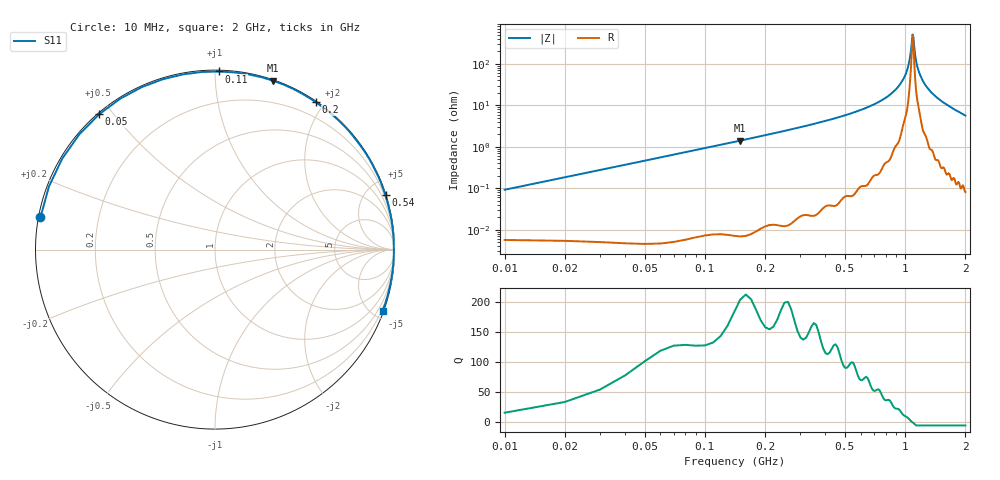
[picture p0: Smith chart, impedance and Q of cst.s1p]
! H_s8_cap_5: PDN loop: BGA pin field to a 0402 capacitor 5 mm away
! stackup: 8-layer 1.6 mm FR-4 (generic)
! ports: 1 IC pins
! CST Studio Suite 2025.5 Release from 2025-05-30, time domain (FIT, hexahedral, PBA), 171058 mesh cells, 142 s
! mesh: {'lpw': 20, 'lpb': 20, 'minstep': 0.0, 'ratio': 20}; ports: port 1 (edge)
! interpolated from CST's 1001 samples to the case grid
# Hz S RI R 1
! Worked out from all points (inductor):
!   200 points, 10 MHz to 2 GHz, reference 1 ohm
!   read as one part to ground: L = 1.46 nH near 20 MHz
!   highest Q = 204 at 150 MHz (marker M1), where L = 1.49 nH
!   self-resonance near 1.09 GHz
!   S11 on the Smith chart (normalised r, x): 10 MHz: 0.01, +0.09; 50 MHz: 0.00, +0.46; 110 MHz: 0.01, +1.02; 200 MHz: 0.01, +1.90; 540 MHz: 0.06, +6.44; 2 GHz: 0.08, -5.67
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1e7  -0.9724 0.1796
2e7  -0.9253 0.351
3e7  -0.8511 0.5071
4e7  -0.7555 0.6425
5e7  -0.6452 0.7542
6e7  -0.527 0.8415
7e7  -0.407 0.9057
8e7  -0.2897 0.9494
9e7  -0.1783 0.9762
1.1e8  0.0208 0.9923
1.3e8  0.1875 0.9761
1.5e8  0.325 0.9408
1.7e8  0.4364 0.8949
2e8  0.563 0.8202
2.3e8  0.6557 0.7492
2.6e8  0.7262 0.6825
3e8  0.7927 0.6026
3.6e8  0.8601 0.504
4.3e8  0.9074 0.4122
5.1e8  0.9406 0.3287
5.4e8  0.9501 0.3022
6.5e8  0.9727 0.2188
7.6e8  0.9852 0.1518
1.01e9  0.996 0.0336
1.26e9  0.994 -0.0637
1.51e9  0.9844 -0.1533
1.76e9  0.9643 -0.2442
2e9  0.935 -0.3406
